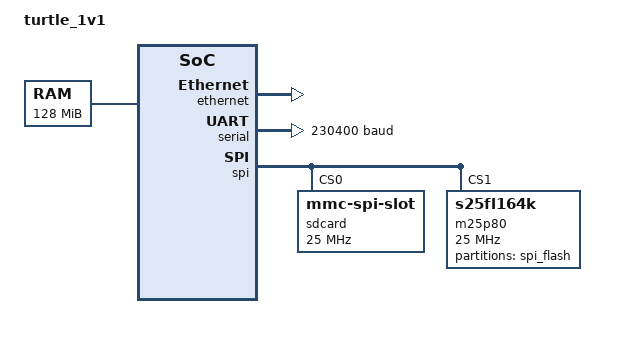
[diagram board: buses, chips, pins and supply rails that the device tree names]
/dts-v1/;

/ {
	model = "turtle_1v1";
	compatible = "jcore,j2-soc";
	#address-cells = <1>;
	#size-cells = <1>;
	interrupt-parent = <&aic>;

	chosen {
		stdout-path = "/soc@abcc0000/serial";
	};

	cpus {
		#address-cells = <1>;
		#size-cells = <0>;
		enable-method = "jcore,spin-table";

		cpu@0 {
			device_type = "cpu";
			compatible = "jcore,j2";
			clock-frequency = <62500000>;
			reg = <0>;
		};

		cpu@1 {
			device_type = "cpu";
			compatible = "jcore,j2";
			clock-frequency = <62500000>;
			reg = <1>;
			cpu-release-addr = <0xabcd0640 0x8000>;
		};
	};

	clocks {

		bus_clock: bus_clock {
			compatible = "fixed-clock";
			#clock-cells = <0>;
			clock-frequency = <62500000>;
		};
	};

	memory@10000000 {
		device_type = "memory";
		reg = <0x10000000 0x8000000>;
	};

	soc@abcc0000 {
		compatible = "simple-bus";
		ranges = <0x0 0xabcc0000 0x22000>;
		#address-cells = <1>;
		#size-cells = <1>;

		timer {
			compatible = "jcore,pit";
			reg = <0x10200 0x30 0x10500 0x30>;
			interrupts = <0x10>;
		};

		aic: interrupt-controller {
			#interrupt-cells = <1>;
			compatible = "jcore,aic1";
			interrupt-controller;
			reg = <0x10200 0x40 0x10500 0x40>; // ABCD0200-ABCD023F, ABCD0500-ABCD053F
		};

		cache-controller {
			compatible = "jcore,cache";
			cpu-offset = <4>;
			reg = <0x100c0 0x40>; // ABCD00C0-ABCD00FF
		};

		ethernet {
			compatible = "jcore,emac";
			reg = <0x20000 0x2000>; // ABCE0000-ABCE1FFF
			interrupts = <0x11>;
		};

		gpio {
			#gpio-cells = <2>;
			compatible = "jcore,gpio1";
			gpio-controller;
			reg = <0x10000 0x10>; // ABCD0000-ABCD000F
			interrupts = <0x15>;
		};

		gpsif {
			compatible = "sei,sgs1010d-gpsif-0.1";
			reg = <0x0 0x400>; // ABCC0000-ABCC03FF
			interrupts = <0x13>;
		};

		serial {
			compatible = "jcore,uartlite", "xlnx,xps-uartlite-1.00.a";
			current-speed = <230400>;
			device_type = "serial";
			port-number = <0>;
			reg = <0x10100 0x10>; // ABCD0100-ABCD010F
			interrupts = <0x12>;
		};

		spi {
			#address-cells = <1>;
			#size-cells = <0>;
			clock-names = "ref_clk";
			clocks = <&bus_clock>;
			compatible = "jcore,spi2";
			spi-max-frequency = <25000000>;
			status = "ok";
			reg = <0x10040 0x8>; // ABCD0040-ABCD0047

			sdcard@0 {
				compatible = "mmc-spi-slot";
				reg = <0>;
				spi-max-frequency = <25000000>;
				voltage-ranges = <3200 3400>;
				mode = <0>;
			};

			m25p80@1 {
				compatible = "s25fl164k", "jedec,spi-nor";
				#address-cells = <1>;
				#size-cells = <1>;
				spi-max-frequency = <25000000>;
				reg = <1>;
				mode = <0>;
				m25p,fast-read;

				partition@0 {
					label = "spi_flash";
					reg = <0 0>;
				};
			};
		};
	};

	cpuid {
		compatible = "jcore,cpuid-mmio";
		reg = <0xabcd0600 0x4>;
	};

	ipi {
		compatible = "jcore,ipi-controller";
		reg = <0xabcd00c0 0x8>;
		interrupts = <0x14>;
	};
};
